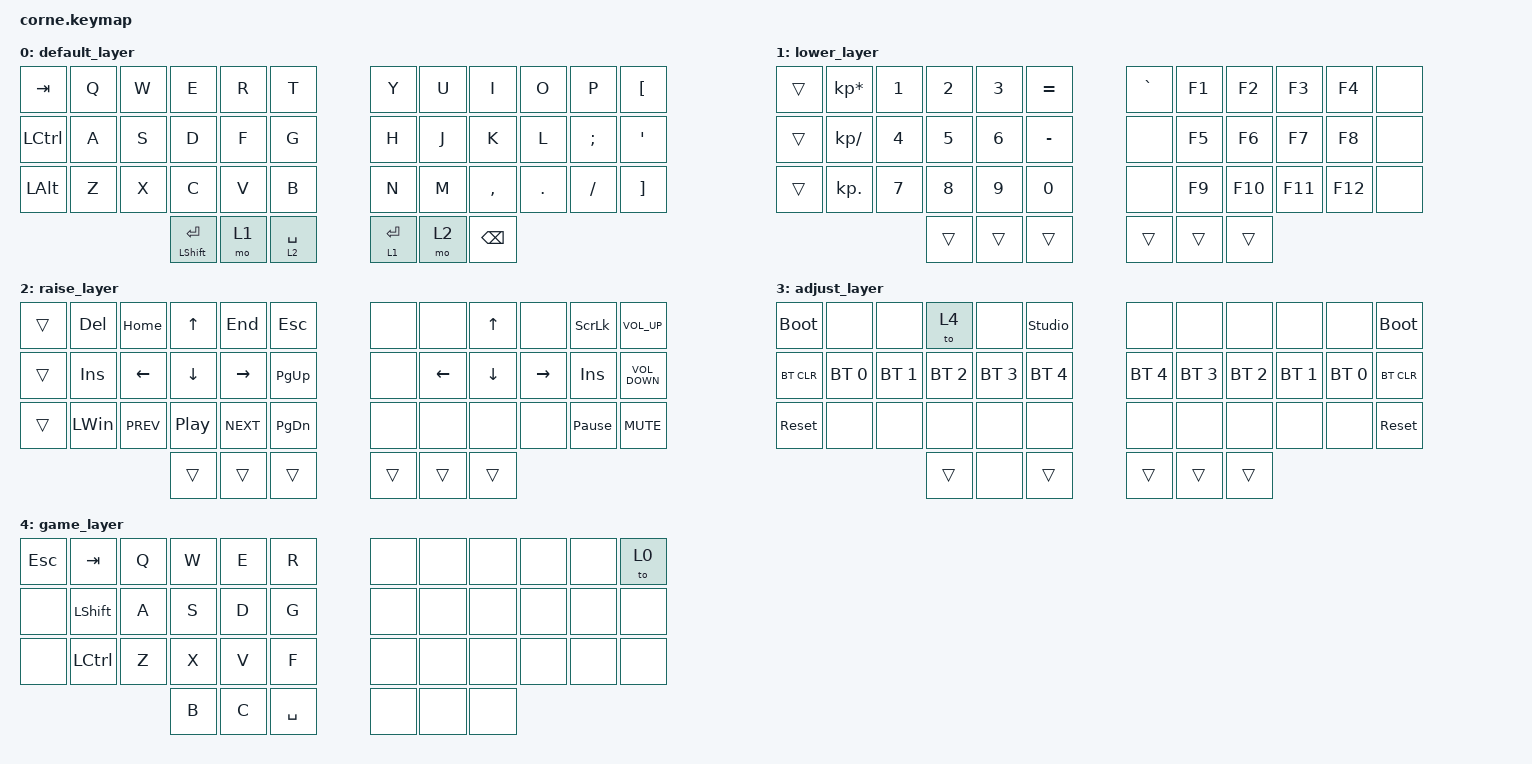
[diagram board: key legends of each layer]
#include <behaviors.dtsi>
#include <dt-bindings/zmk/bt.h>
#include <dt-bindings/zmk/keys.h>

#define DEF 0
#define LWR 1
#define RSE 2
#define ADJ 3

&lt { quick_tap_ms = <200>; };

&mt { quick_tap_ms = <200>; };

/ {
    keymap {
        compatible = "zmk,keymap";

        default_layer {
            bindings = <
&kp TAB    &kp Q  &kp W  &kp E             &kp R  &kp T          &kp Y        &kp U  &kp I          &kp O    &kp P     &kp LBKT
&kp LCTRL  &kp A  &kp S  &kp D             &kp F  &kp G          &kp H        &kp J  &kp K          &kp L    &kp SEMI  &kp SQT
&kp LALT   &kp Z  &kp X  &kp C             &kp V  &kp B          &kp N        &kp M  &kp COMMA      &kp DOT  &kp FSLH  &kp RBKT
                         &mt LSHIFT ENTER  &mo 1  &lt 2 SPACE    &lt 1 ENTER  &mo 2  &kp BACKSPACE
            >;
        };

        lower_layer {
            bindings = <
&trans  &kp KP_MULTIPLY  &kp NUMBER_1  &kp NUMBER_2  &kp NUMBER_3  &kp EQUAL       &kp GRAVE  &kp F1  &kp F2   &kp F3   &kp F4   &none
&trans  &kp KP_DIVIDE    &kp NUMBER_4  &kp NUMBER_5  &kp NUMBER_6  &kp MINUS       &none      &kp F5  &kp F6   &kp F7   &kp F8   &none
&trans  &kp KP_DOT       &kp NUMBER_7  &kp NUMBER_8  &kp NUMBER_9  &kp NUMBER_0    &none      &kp F9  &kp F10  &kp F11  &kp F12  &none
                                       &trans        &trans        &trans          &trans     &trans  &trans
            >;
        };

        raise_layer {
            bindings = <
&trans  &kp DELETE    &kp HOME    &kp UP_ARROW      &kp END     &kp ESC          &none   &none     &kp UP    &none      &kp SLCK         &kp C_VOLUME_UP
&trans  &kp INS       &kp LEFT    &kp DOWN          &kp RIGHT   &kp PAGE_UP      &none   &kp LEFT  &kp DOWN  &kp RIGHT  &kp INS          &kp C_VOLUME_DOWN
&trans  &kp LEFT_WIN  &kp C_PREV  &kp C_PLAY_PAUSE  &kp C_NEXT  &kp PAGE_DOWN    &none   &none     &none     &none      &kp PAUSE_BREAK  &kp K_MUTE
                                  &trans            &trans      &trans           &trans  &trans    &trans
            >;
        };

        adjust_layer {
            bindings = <
&bootloader  &none         &none         &to 4         &none         &studio_unlock  &none         &none         &none         &none         &none         &bootloader
&bt BT_CLR   &bt BT_SEL 0  &bt BT_SEL 1  &bt BT_SEL 2  &bt BT_SEL 3  &bt BT_SEL 4    &bt BT_SEL 4  &bt BT_SEL 3  &bt BT_SEL 2  &bt BT_SEL 1  &bt BT_SEL 0  &bt BT_CLR
&sys_reset   &none         &none         &none         &none         &none           &none         &none         &none         &none         &none         &sys_reset
                                         &trans        &none         &trans          &trans        &trans        &trans
            >;
        };

        game_layer {
            bindings = <
&kp ESC  &kp TAB    &kp Q  &kp W  &kp E  &kp R        &none  &none  &none  &none  &none  &to 0
&none    &kp LSHFT  &kp A  &kp S  &kp D  &kp G        &none  &none  &none  &none  &none  &none
&none    &kp LCTRL  &kp Z  &kp X  &kp V  &kp F        &none  &none  &none  &none  &none  &none
                           &kp B  &kp C  &kp SPACE    &none  &none  &none
            >;
        };
    };

    conditional_layers {
        compatible = "zmk,conditional-layers";

        adjust {
            if-layers = <1 2>;
            then-layer = <3>;
        };
    };
};
